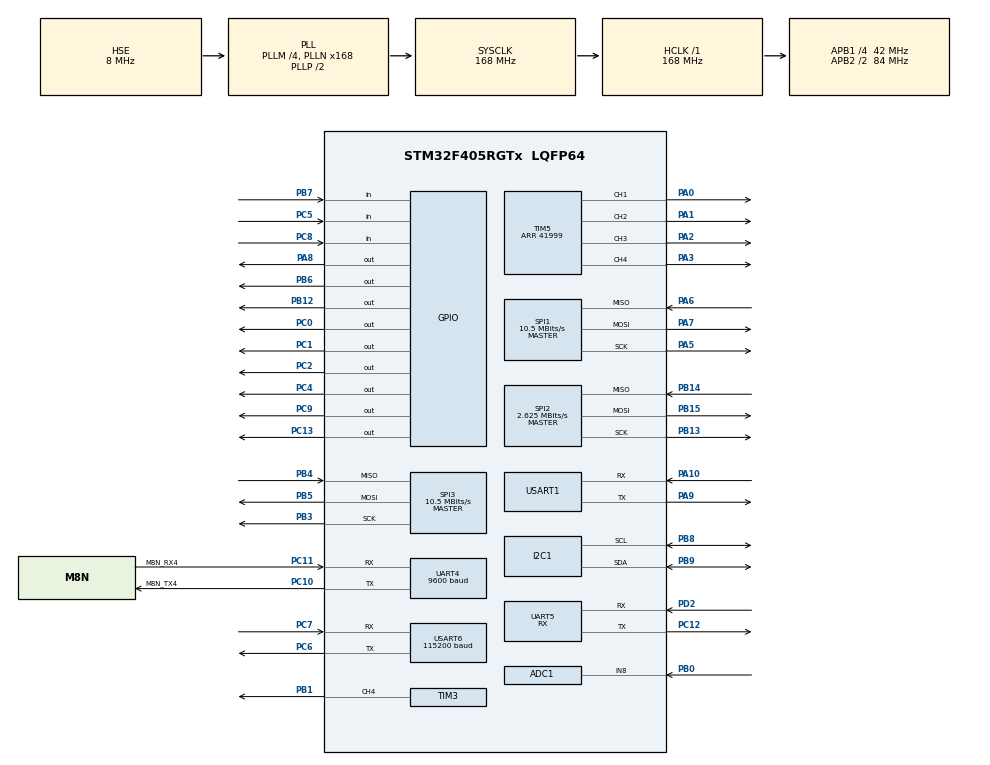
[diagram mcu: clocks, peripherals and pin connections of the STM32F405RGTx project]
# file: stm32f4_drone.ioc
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ADC1.Channel-0\#ChannelRegularConversion=ADC_CHANNEL_8
ADC1.ClockPrescaler=ADC_CLOCK_SYNC_PCLK_DIV8
ADC1.ContinuousConvMode=ENABLE
ADC1.DMAContinuousRequests=ENABLE
ADC1.NbrOfConversion=1
ADC1.NbrOfConversionFlag=1
ADC1.Rank-0\#ChannelRegularConversion=1
ADC1.SamplingTime-0\#ChannelRegularConversion=ADC_SAMPLETIME_480CYCLES
ADC1.master=1
Dma.ADC1.0.Direction=DMA_PERIPH_TO_MEMORY
Dma.ADC1.0.FIFOMode=DMA_FIFOMODE_DISABLE
Dma.ADC1.0.Instance=DMA2_Stream0
Dma.ADC1.0.MemDataAlignment=DMA_MDATAALIGN_HALFWORD
Dma.ADC1.0.MemInc=DMA_MINC_DISABLE
Dma.ADC1.0.Mode=DMA_CIRCULAR
Dma.ADC1.0.PeriphDataAlignment=DMA_PDATAALIGN_HALFWORD
Dma.ADC1.0.PeriphInc=DMA_PINC_DISABLE
Dma.ADC1.0.Priority=DMA_PRIORITY_LOW
Dma.Request0=ADC1
I2C1.I2C_Mode=I2C_Fast
Mcu.Family=STM32F4
Mcu.Name=STM32F405RGTx
Mcu.Package=LQFP64
NVIC.DMA2_Stream0_IRQn=true\:0\:0\:false\:false\:true\:false\:true\:true
NVIC.PriorityGroup=NVIC_PRIORITYGROUP_4
NVIC.TIM7_IRQn=true\:0\:0\:false\:false\:true\:true\:true\:true
NVIC.UART4_IRQn=true\:0\:0\:false\:false\:true\:true\:true\:true
NVIC.UART5_IRQn=true\:0\:0\:false\:false\:true\:true\:true\:true
NVIC.USART1_IRQn=true\:0\:0\:false\:false\:true\:true\:true\:true
NVIC.USART6_IRQn=true\:0\:0\:false\:false\:true\:true\:true\:true
PA0-WKUP.Signal=S_TIM5_CH1
PA1.Signal=S_TIM5_CH2
PA10.Mode=Asynchronous
PA10.Signal=USART1_RX
PA2.Signal=S_TIM5_CH3
PA3.Signal=S_TIM5_CH4
PA5.Mode=Full_Duplex_Master
PA5.Signal=SPI1_SCK
PA6.Mode=Full_Duplex_Master
PA6.Signal=SPI1_MISO
PA7.Mode=Full_Duplex_Master
PA7.Signal=SPI1_MOSI
PA8.Signal=GPIO_Output
PA9.Mode=Asynchronous
PA9.Signal=USART1_TX
PB0.Signal=ADCx_IN8
PB1.Signal=S_TIM3_CH4
PB12.Signal=GPIO_Output
PB13.Mode=Full_Duplex_Master
PB13.Signal=SPI2_SCK
PB14.Mode=Full_Duplex_Master
PB14.Signal=SPI2_MISO
PB15.Mode=Full_Duplex_Master
PB15.Signal=SPI2_MOSI
PB3.Mode=Full_Duplex_Master
PB3.Signal=SPI3_SCK
PB4.Mode=Full_Duplex_Master
PB4.Signal=SPI3_MISO
PB5.Mode=Full_Duplex_Master
PB5.Signal=SPI3_MOSI
PB6.Signal=GPIO_Output
PB7.Signal=GPIO_Input
PB8.GPIO_Pu=GPIO_PULLUP
PB8.Mode=I2C
PB8.Signal=I2C1_SCL
PB9.GPIO_Pu=GPIO_PULLUP
PB9.Mode=I2C
PB9.Signal=I2C1_SDA
PC0.Signal=GPIO_Output
PC1.Signal=GPIO_Output
PC10.GPIO_Label=M8N_TX4
PC10.Mode=Asynchronous
PC10.Signal=UART4_TX
PC11.GPIO_Label=M8N_RX4
PC11.Mode=Asynchronous
PC11.Signal=UART4_RX
PC12.Mode=Asynchronous
PC12.Signal=UART5_TX
PC13-ANTI_TAMP.PinState=GPIO_PIN_SET
PC13-ANTI_TAMP.Signal=GPIO_Output
PC2.Signal=GPIO_Output
PC4.Signal=GPIO_Output
PC5.Signal=GPIO_Input
PC6.Mode=Asynchronous
PC6.Signal=USART6_TX
PC7.Mode=Asynchronous
PC7.Signal=USART6_RX
PC8.Signal=GPIO_Input
PC9.Signal=GPIO_Output
PD2.Mode=Asynchronous
PD2.Signal=UART5_RX
PH0-OSC_IN.Mode=HSE-External-Oscillator
PH0-OSC_IN.Signal=RCC_OSC_IN
PH1-OSC_OUT.Mode=HSE-External-Oscillator
PH1-OSC_OUT.Signal=RCC_OSC_OUT
ProjectManager.HeapSize=0x200
ProjectManager.StackSize=0x400
ProjectManager.TargetToolchain=STM32CubeIDE
RCC.48MHZClocksFreq_Value=84000000
RCC.AHBFreq_Value=168000000
RCC.APB1CLKDivider=RCC_HCLK_DIV4
RCC.APB1Freq_Value=42000000
RCC.APB1TimFreq_Value=84000000
RCC.APB2CLKDivider=RCC_HCLK_DIV2
RCC.APB2Freq_Value=84000000
RCC.APB2TimFreq_Value=168000000
RCC.CortexFreq_Value=168000000
RCC.HCLKFreq_Value=168000000
RCC.HSE_VALUE=8000000
RCC.HSI_VALUE=16000000
RCC.LSE_VALUE=32768
RCC.PLLM=4
RCC.PLLN=168
RCC.PLLSourceVirtual=RCC_PLLSOURCE_HSE
RCC.SYSCLKFreq_VALUE=168000000
RCC.SYSCLKSource=RCC_SYSCLKSOURCE_PLLCLK
RCC.VCOOutputFreq_Value=336000000
SH.ADCx_IN8.0=ADC1_IN8,IN8
SH.S_TIM3_CH4.0=TIM3_CH4,PWM Generation4 CH4
SH.S_TIM5_CH1.0=TIM5_CH1,PWM Generation1 CH1
SH.S_TIM5_CH2.0=TIM5_CH2,PWM Generation2 CH2
SH.S_TIM5_CH3.0=TIM5_CH3,PWM Generation3 CH3
SH.S_TIM5_CH4.0=TIM5_CH4,PWM Generation4 CH4
SPI1.BaudRatePrescaler=SPI_BAUDRATEPRESCALER_8
SPI1.CLKPhase=SPI_PHASE_2EDGE
SPI1.CLKPolarity=SPI_POLARITY_HIGH
SPI1.CalculateBaudRate=10.5 MBits/s
SPI1.Direction=SPI_DIRECTION_2LINES
SPI1.Mode=SPI_MODE_MASTER
SPI1.VirtualType=VM_MASTER
SPI2.BaudRatePrescaler=SPI_BAUDRATEPRESCALER_16
SPI2.CLKPhase=SPI_PHASE_2EDGE
SPI2.CLKPolarity=SPI_POLARITY_HIGH
SPI2.CalculateBaudRate=2.625 MBits/s
SPI2.Direction=SPI_DIRECTION_2LINES
SPI2.Mode=SPI_MODE_MASTER
SPI2.VirtualType=VM_MASTER
SPI3.BaudRatePrescaler=SPI_BAUDRATEPRESCALER_4
SPI3.CLKPhase=SPI_PHASE_2EDGE
SPI3.CLKPolarity=SPI_POLARITY_HIGH
SPI3.CalculateBaudRate=10.5 MBits/s
SPI3.Direction=SPI_DIRECTION_2LINES
SPI3.Mode=SPI_MODE_MASTER
SPI3.VirtualType=VM_MASTER
TIM3.AutoReloadPreload=TIM_AUTORELOAD_PRELOAD_ENABLE
TIM3.Channel-PWM\ Generation4\ CH4=TIM_CHANNEL_4
TIM3.OCFastMode_PWM-PWM\ Generation4\ CH4=TIM_OCFAST_ENABLE
TIM3.Period=20
TIM3.Prescaler=999
TIM3.Pulse-PWM\ Generation4\ CH4=10
TIM5.AutoReloadPreload=TIM_AUTORELOAD_PRELOAD_ENABLE
TIM5.Channel-PWM\ Generation1\ CH1=TIM_CHANNEL_1
TIM5.Channel-PWM\ Generation2\ CH2=TIM_CHANNEL_2
TIM5.Channel-PWM\ Generation3\ CH3=TIM_CHANNEL_3
TIM5.Channel-PWM\ Generation4\ CH4=TIM_CHANNEL_4
TIM5.OCFastMode_PWM-PWM\ Generation1\ CH1=TIM_OCFAST_ENABLE
TIM5.OCFastMode_PWM-PWM\ Generation2\ CH2=TIM_OCFAST_ENABLE
TIM5.OCFastMode_PWM-PWM\ Generation3\ CH3=TIM_OCFAST_ENABLE
TIM5.OCFastMode_PWM-PWM\ Generation4\ CH4=TIM_OCFAST_ENABLE
TIM5.Period=41999
TIM5.Pulse-PWM\ Generation1\ CH1=0
TIM5.Pulse-PWM\ Generation2\ CH2=0
TIM5.Pulse-PWM\ Generation3\ CH3=0
TIM7.AutoReloadPreload=TIM_AUTORELOAD_PRELOAD_ENABLE
TIM7.Period=1
TIM7.Prescaler=41999
UART4.BaudRate=9600
UART4.VirtualMode=Asynchronous
UART5.Mode=MODE_RX
UART5.VirtualMode=Asynchronous
USART1.VirtualMode=VM_ASYNC
USART6.BaudRate=115200
USART6.VirtualMode=VM_ASYNC
VP_TIM3_VS_ClockSourceINT.Mode=Internal
VP_TIM5_VS_ClockSourceINT.Mode=Internal
VP_TIM7_VS_ClockSourceINT.Mode=Enable_Timer
board=custom

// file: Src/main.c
/* USER CODE BEGIN Header */
/**
  ******************************************************************************
  * @file           : main.c
  * @brief          : Main program body
  ******************************************************************************
  * @attention
  *
  * <h2><center>&copy; Copyright (c) 2021 STMicroelectronics.
  * All rights reserved.</center></h2>
  *
  * This software component is licensed by ST under BSD 3-Clause license,
  * the "License"; You may not use this file except in compliance with the
  * License. You may obtain a copy of the License at:
  *                        opensource.org/licenses/BSD-3-Clause
  *
  ******************************************************************************
  */
/* USER CODE END Header */
#include "main.h"
#include "adc.h"
#include "dma.h"
#include "i2c.h"
#include "spi.h"
#include "tim.h"
#include "usart.h"
#include "gpio.h"

/* USER CODE BEGIN Includes */
#include "BNO080.h"
#include "Quaternion.h"
#include "ICM20602.h"
#include "LPS22HH.h"
#include "M8N.h"
#include "FS-iA6B.h"
#include "AT24C08.h"
#include <string.h>
#include "PID control.h"
/* USER CODE END Includes */

/* USER CODE BEGIN PTD */
int _write(int file, char* p, int len)
{
	for (int i=0; i<len; i++)
	{
		while(!LL_USART_IsActiveFlag_TXE(USART6));
		LL_USART_TransmitData8(USART6, *(p+i));
		//HAL_Delay(1);
	}
	return len;
}
/* USER CODE END PTD */

/* USER CODE BEGIN PV */
extern uint8_t uart6_rx_flag;
extern uint8_t uart6_rx_data;

extern uint8_t m8n_rx_buf[36];
extern uint8_t m8n_rx_cplt_flag;

extern uint8_t ibus_rx_buf[32];
extern uint8_t ibus_rx_cplt_flag;

extern uint8_t uart1_rx_data;

uint8_t telemetry_tx_buf[40];

extern uint8_t tim7_1ms_flag;
extern uint8_t tim7_20ms_flag;
extern uint8_t tim7_100ms_flag;
extern uint8_t tim7_1000ms_flag;

float batVolt;

uint8_t telemetry_rx_buf[20];
uint8_t telemetry_rx_cplt_flag;

//float roll.in.kp;
//float roll.in.ki;
//float roll.in.kd;
//
//float roll.out.kp;
//float roll.out.ki;
//float roll.out.kd;
//
//float pitch.in.kp;
//float pitch.in.ki;
//float pitch.in.kd;
//
//float pitch.out.kp;
//float pitch.out.ki;
//float pitch.out.kd;
//
//float yaw_heading.kp;
//float yaw_heading.ki;
//float yaw_heading.kd;
//
//float yaw_rate.kp;
//float yaw_rate.ki;
//float yaw_rate.kd;

unsigned char failsafe_flag = 0;
unsigned char low_bat_flag = 0;
/* USER CODE END PV */

void SystemClock_Config(void);
/* USER CODE BEGIN PFP */
int Is_iBus_Throttle_Min(void);
void ESC_Calibration(void);
void BNO080_Calibration(void);
int Is_iBus_Received(void);
void Encode_Msg_AHRS(unsigned char* telemetry_tx_buf);
void Encode_Msg_GPS(unsigned char* telemetry_tx_buf);
void Encode_Msg_PID_Gain(unsigned char* telemetry_tx_buf, unsigned char id, float p, float i, float d);
/* USER CODE END PFP */

int main(void)
{
  /* USER CODE BEGIN 1 */
	float q[4];
	float quatRadianAccuracy;
	unsigned short adcVal;

	short gyro_x_offset = 4, gyro_y_offset = 10, gyro_z_offset = -6; // signed 16bit / raw data
	unsigned char motor_arming_flag = 0;
	unsigned short iBus_SwA_Prev = 0;
	unsigned char iBus_rx_cnt = 0;
	unsigned short ccr1, ccr2, ccr3, ccr4;

	float yaw_heading_reference;
  /* USER CODE END 1 */

  /* MCU Configuration--------------------------------------------------------*/

  /* Reset of all peripherals, Initializes the Flash interface and the Systick. */
  HAL_Init();

  /* Configure the system clock */
  SystemClock_Config();

  /* Initialize all configured peripherals */
  MX_GPIO_Init();
  MX_TIM3_Init(); // buzzer
  MX_USART6_UART_Init(); // PC UART
  MX_SPI2_Init(); // BNO080
  MX_SPI1_Init(); // ICM-20602
  MX_SPI3_Init(); // LPS22HH
  MX_UART4_Init(); // M8N
  MX_UART5_Init(); // iBus
  MX_TIM5_Init(); // BLDC Motor
  MX_DMA_Init(); // ADC Battery
  MX_ADC1_Init(); // ADC Battery
  MX_I2C1_Init(); // EEPROM
  MX_USART1_UART_Init(); // 3DR Telemetry
  MX_TIM7_Init(); // 20ms 100ms count
  /* USER CODE BEGIN 2 */
  LL_TIM_EnableCounter(TIM3); // Buzzer

  LL_USART_EnableIT_RXNE(USART6); // Debug UART
  LL_USART_EnableIT_RXNE(UART4); // GPS UART
  LL_USART_EnableIT_RXNE(UART5); // FS-iA6B Receive Interrupt

  LL_TIM_EnableCounter(TIM5); // Motor
  LL_TIM_CC_EnableChannel(TIM5, LL_TIM_CHANNEL_CH1);
  LL_TIM_CC_EnableChannel(TIM5, LL_TIM_CHANNEL_CH2);
  LL_TIM_CC_EnableChannel(TIM5, LL_TIM_CHANNEL_CH3);
  LL_TIM_CC_EnableChannel(TIM5, LL_TIM_CHANNEL_CH4);

  HAL_ADC_Start_DMA(&hadc1, &adcVal, 1); // adcVal = ADC1->DR; Battery ADC

  HAL_UART_Receive_IT(&huart1, &uart1_rx_data, 1); // if data received, Call Rx call back function // telemetry

  LL_TIM_EnableCounter(TIM7); // 10Hz, 50Hz, 1kHz loop
  LL_TIM_EnableIT_UPDATE(TIM7);

  TIM3->PSC = 1000; // BEEP BEEP
  LL_TIM_CC_EnableChannel(TIM3, LL_TIM_CHANNEL_CH4);
  HAL_Delay(60);
  LL_TIM_CC_DisableChannel(TIM3, LL_TIM_CHANNEL_CH4);
  HAL_Delay(60);
  LL_TIM_CC_EnableChannel(TIM3, LL_TIM_CHANNEL_CH4);
  HAL_Delay(60);
  LL_TIM_CC_DisableChannel(TIM3, LL_TIM_CHANNEL_CH4);
  HAL_Delay(60);

  printf("Checking sensor connection..\n\n");

  if (BNO080_Initialization() != 0)
  {
	  LL_TIM_CC_EnableChannel(TIM3, LL_TIM_CHANNEL_CH4);
	  TIM3->PSC = 1000;
	  HAL_Delay(100);
	  TIM3->PSC = 1500;
	  HAL_Delay(100);
	  TIM3->PSC = 2000;
	  HAL_Delay(100);
	  LL_TIM_CC_DisableChannel(TIM3, LL_TIM_CHANNEL_CH4);

	  printf("\nBNO080 failed. Program shutting down...");
	  while (1)
	  {
		  LL_TIM_CC_DisableChannel(TIM3, LL_TIM_CHANNEL_CH4);
		  LL_GPIO_TogglePin(GPIOC, LL_GPIO_PIN_0);
		  HAL_Delay(200);
		  LL_TIM_CC_EnableChannel(TIM3, LL_TIM_CHANNEL_CH4);
		  LL_GPIO_TogglePin(GPIOC, LL_GPIO_PIN_0);
		  HAL_Delay(200);
	  }
  }
  //BNO080_enableRotationVector(2500); // 400Hz
  BNO080_enableGameRotationVector(2500);

  if (ICM20602_Initialization() != 0)
  {
	  LL_TIM_CC_EnableChannel(TIM3, LL_TIM_CHANNEL_CH4);
	  TIM3->PSC = 1000;
	  HAL_Delay(100);
	  TIM3->PSC = 1500;
	  HAL_Delay(100);
	  TIM3->PSC = 2000;
	  HAL_Delay(100);
	  LL_TIM_CC_DisableChannel(TIM3, LL_TIM_CHANNEL_CH4);

	  printf("\nICM-20602 failed. Program shutting down...");
	  while (1)
	  {
		  LL_TIM_CC_DisableChannel(TIM3, LL_TIM_CHANNEL_CH4);
		  LL_GPIO_TogglePin(GPIOC, LL_GPIO_PIN_1);
		  HAL_Delay(200);
		  LL_TIM_CC_EnableChannel(TIM3, LL_TIM_CHANNEL_CH4);
		  LL_GPIO_TogglePin(GPIOC, LL_GPIO_PIN_1);
		  HAL_Delay(200);
	  }
  }

  if (LPS22HH_Initialization() != 0)
  {
	  LL_TIM_CC_EnableChannel(TIM3, LL_TIM_CHANNEL_CH4);
	  TIM3->PSC = 1000;
	  HAL_Delay(100);
	  TIM3->PSC = 1500;
	  HAL_Delay(100);
	  TIM3->PSC = 2000;
	  HAL_Delay(100);
	  LL_TIM_CC_DisableChannel(TIM3, LL_TIM_CHANNEL_CH4);

	  printf("\nLPS22HH failed. Program shutting down...");
	  while (1)
	  {
		  LL_TIM_CC_DisableChannel(TIM3, LL_TIM_CHANNEL_CH4);
		  LL_GPIO_TogglePin(GPIOC, LL_GPIO_PIN_2);
		  HAL_Delay(200);
		  LL_TIM_CC_EnableChannel(TIM3, LL_TIM_CHANNEL_CH4);
		  LL_GPIO_TogglePin(GPIOC, LL_GPIO_PIN_2);
		  HAL_Delay(200);
	  }
  }

  printf("All sensors OK!\n\n");

  M8N_Initialization();

  // ICM-20602 DC Bias Remove
  ICM20602_Writebyte(0x13, (gyro_x_offset*-2)>>8);
  ICM20602_Writebyte(0x14, (gyro_x_offset*-2));
  ICM20602_Writebyte(0x15, (gyro_y_offset*-2)>>8);
  ICM20602_Writebyte(0x16, (gyro_y_offset*-2));
  ICM20602_Writebyte(0x17, (gyro_z_offset*-2)>>8);
  ICM20602_Writebyte(0x18, (gyro_z_offset*-2));

  printf("Loading PID Gain...\n");

//  a[0] = EP_PIDGain_Read(0, &roll.in.kp, &roll.in.ki, &roll.in.kd);
//  a[1] = EP_PIDGain_Read(1, &roll.out.kp, &roll.out.ki, &roll.out.kd);
//  a[2] = EP_PIDGain_Read(2, &pitch.in.kp, &pitch.in.ki, &pitch.in.kd);
//  a[3] = EP_PIDGain_Read(3, &pitch.out.kp, &pitch.out.ki, &pitch.out.kd);
//  a[4] = EP_PIDGain_Read(4, &yaw_heading.kp, &yaw_heading.ki, &yaw_heading.kd);
//  a[5] = EP_PIDGain_Read(5, &yaw_rate.kp, &yaw_rate.ki, &yaw_rate.kd);
//  for (int i=0; i<6; i++) printf("%d\t", a[i]);

  // PID Gain Tx Booting Process
  if (EP_PIDGain_Read(0, &roll.in.kp, &roll.in.ki, &roll.in.kd) != 0 ||
	  EP_PIDGain_Read(1, &roll.out.kp, &roll.out.ki, &roll.out.kd) != 0 ||
	  EP_PIDGain_Read(2, &pitch.in.kp, &pitch.in.ki, &pitch.in.kd) != 0 ||
	  EP_PIDGain_Read(3, &pitch.out.kp, &pitch.out.ki, &pitch.out.kd) != 0 ||
	  EP_PIDGain_Read(4, &yaw_heading.kp, &yaw_heading.ki, &yaw_heading.kd) != 0 ||
	  EP_PIDGain_Read(5, &yaw_rate.kp, &yaw_rate.ki, &yaw_rate.kd) != 0)
  {
	  LL_TIM_CC_EnableChannel(TIM3, LL_TIM_CHANNEL_CH4);
	  TIM3->PSC = 1000;
	  HAL_Delay(100);
	  TIM3->PSC = 1500;
	  HAL_Delay(100);
	  TIM3->PSC = 2000;
	  HAL_Delay(100);
	  LL_TIM_CC_DisableChannel(TIM3, LL_TIM_CHANNEL_CH4);

	  HAL_Delay(500);
	  printf("\nCouldn't load PID gain.\n");
  }
  else
  {
	  Encode_Msg_PID_Gain(&telemetry_tx_buf[0], 0, roll.in.kp, roll.in.ki, roll.in.kd);
	  HAL_UART_Transmit(&huart1, &telemetry_tx_buf[0], 20, 10);
	  Encode_Msg_PID_Gain(&telemetry_tx_buf[0], 1, roll.out.kp, roll.out.ki, roll.out.kd);
	  HAL_UART_Transmit(&huart1, &telemetry_tx_buf[0], 20, 10);
	  Encode_Msg_PID_Gain(&telemetry_tx_buf[0], 2, pitch.in.kp, pitch.in.ki, pitch.in.kd);
	  HAL_UART_Transmit(&huart1, &telemetry_tx_buf[0], 20, 10);
	  Encode_Msg_PID_Gain(&telemetry_tx_buf[0], 3, pitch.out.kp, pitch.out.ki, pitch.out.kd);
	  HAL_UART_Transmit(&huart1, &telemetry_tx_buf[0], 20, 10);
	  Encode_Msg_PID_Gain(&telemetry_tx_buf[0], 4, yaw_heading.kp, yaw_heading.ki, yaw_heading.kd);
	  HAL_UART_Transmit(&huart1, &telemetry_tx_buf[0], 20, 10);
	  Encode_Msg_PID_Gain(&telemetry_tx_buf[0], 5, yaw_rate.kp, yaw_rate.ki, yaw_rate.kd);
	  HAL_UART_Transmit(&huart1, &telemetry_tx_buf[0], 20, 10);

	  printf("\nAll gains OK!\n\n");
  }

  while (!Is_iBus_Received())
  {
	  LL_TIM_CC_EnableChannel(TIM3, LL_TIM_CHANNEL_CH4);

	  TIM3->PSC = 3000;
	  HAL_Delay(200);
	  LL_TIM_CC_DisableChannel(TIM3, LL_TIM_CHANNEL_CH4);
	  HAL_Delay(200);
  }

  if (iBus.SwC == 2000) // ESC Calibration
  {
	  LL_TIM_CC_EnableChannel(TIM3, LL_TIM_CHANNEL_CH4);

	  TIM3->PSC = 1500;
	  HAL_Delay(200);
	  TIM3->PSC = 2000;
	  HAL_Delay(200);
	  TIM3->PSC = 1500;
	  HAL_Delay(200);
	  TIM3->PSC = 2000;
	  HAL_Delay(200);
	  LL_TIM_CC_DisableChannel(TIM3, LL_TIM_CHANNEL_CH4);

	  ESC_Calibration();
	  while (iBus.SwC != 1000)
	  {
		  Is_iBus_Received();
		  LL_TIM_CC_EnableChannel(TIM3, LL_TIM_CHANNEL_CH4);

		  TIM3->PSC = 1500;
		  HAL_Delay(200);
		  TIM3->PSC = 2000;
		  HAL_Delay(200);
		  LL_TIM_CC_DisableChannel(TIM3, LL_TIM_CHANNEL_CH4);
	  }
  }
  else if (iBus.SwC == 1500) // BNO080 Calibration
  {
	  LL_TIM_CC_EnableChannel(TIM3, LL_TIM_CHANNEL_CH4);

	  TIM3->PSC = 1500;
	  HAL_Delay(200);
	  TIM3->PSC = 2000;
	  HAL_Delay(200);
	  TIM3->PSC = 1500;
	  HAL_Delay(200);
	  TIM3->PSC = 2000;
	  HAL_Delay(200);
	  LL_TIM_CC_DisableChannel(TIM3, LL_TIM_CHANNEL_CH4);

	  BNO080_Calibration();
	  while (iBus.SwC != 1000)
	  {
		  Is_iBus_Received();
		  LL_TIM_CC_EnableChannel(TIM3, LL_TIM_CHANNEL_CH4);

		  TIM3->PSC = 1500;
		  HAL_Delay(200);
		  TIM3->PSC = 2000;
		  HAL_Delay(200);
		  LL_TIM_CC_DisableChannel(TIM3, LL_TIM_CHANNEL_CH4);
	  }
  }

  while (!Is_iBus_Throttle_Min() || iBus.SwA == 2000) // Throttle Safety
  {
	  LL_TIM_CC_EnableChannel(TIM3, LL_TIM_CHANNEL_CH4);
	  TIM3->PSC = 1000;
	  HAL_Delay(70);
	  LL_TIM_CC_DisableChannel(TIM3, LL_TIM_CHANNEL_CH4);
	  HAL_Delay(70);
  }

  LL_TIM_CC_EnableChannel(TIM3, LL_TIM_CHANNEL_CH4);	// Buzzer On

  TIM3->PSC = 2000; // 2kHz
  HAL_Delay(100);
  TIM3->PSC = 1500; // 3kHz
  HAL_Delay(100);
  TIM3->PSC = 1000; // 4kHz
  HAL_Delay(100);

  LL_TIM_CC_DisableChannel(TIM3, LL_TIM_CHANNEL_CH4);	// Buzzer Off

  printf("Main Loop Start\n");

  /* USER CODE END 2 */

  /* Infinite loop */
  while (1)
  {

    /* USER CODE BEGIN 3 */

	  if (tim7_1ms_flag) // PID Control 1kHz / 1ms
	  {
		  tim7_1ms_flag = 0;

		  Double_Roll_Pitch_PID_Calculation(&pitch, (iBus.RV - 1500) * 0.1f, BNO080_Pitch, ICM20602.gyro_x);
		  Double_Roll_Pitch_PID_Calculation(&roll, (iBus.RH - 1500) * 0.1f, BNO080_Roll, ICM20602.gyro_y);

		  if (iBus.LV < 1030 || !motor_arming_flag)
		  {
			  Reset_All_PID_Integrator();
		  }

		  if (iBus.LH < 1485 || iBus.LH > 1515)
		  {
			  yaw_heading_reference = BNO080_Yaw;
			  Single_Yaw_Rate_PID_Calculation(&yaw_rate, (iBus.LH - 1500), ICM20602.gyro_z);

			  ccr1 = 10500 + 500 + (iBus.LV - 1000) * 10 - pitch.in.pid_result + roll.in.pid_result - yaw_rate.pid_result;
			  ccr2 = 10500 + 500 + (iBus.LV - 1000) * 10 + pitch.in.pid_result + roll.in.pid_result + yaw_rate.pid_result;
			  ccr3 = 10500 + 500 + (iBus.LV - 1000) * 10 + pitch.in.pid_result - roll.in.pid_result - yaw_rate.pid_result;
			  ccr4 = 10500 + 500 + (iBus.LV - 1000) * 10 - pitch.in.pid_result - roll.in.pid_result + yaw_rate.pid_result;
		  }
		  else
		  {
			  Single_Yaw_Heading_PID_Calculation(&yaw_heading, yaw_heading_reference, BNO080_Yaw, ICM20602.gyro_z);

			  ccr1 = 10500 + 500 + (iBus.LV - 1000) * 10 - pitch.in.pid_result + roll.in.pid_result - yaw_heading.pid_result;
			  ccr2 = 10500 + 500 + (iBus.LV - 1000) * 10 + pitch.in.pid_result + roll.in.pid_result + yaw_heading.pid_result;
			  ccr3 = 10500 + 500 + (iBus.LV - 1000) * 10 + pitch.in.pid_result - roll.in.pid_result - yaw_heading.pid_result;
			  ccr4 = 10500 + 500 + (iBus.LV - 1000) * 10 - pitch.in.pid_result - roll.in.pid_result + yaw_heading.pid_result;
		  }
	  }

	  if (iBus.SwA == 2000 && iBus_SwA_Prev != 2000) // do one time (like state change interrupt)
	  {
		  if (iBus.LV < 1010)
		  {
			  motor_arming_flag = 1;
			  yaw_heading_reference = BNO080_Yaw;
		  }
		  else
		  {
			  while (!Is_iBus_Throttle_Min() || iBus.SwA == 2000) // Throttle Safety
			  {
				  LL_TIM_CC_EnableChannel(TIM3, LL_TIM_CHANNEL_CH4);
				  TIM3->PSC = 1000;
				  HAL_Delay(70);
				  LL_TIM_CC_DisableChannel(TIM3, LL_TIM_CHANNEL_CH4);
				  HAL_Delay(70);
			  }
		  }
	  }
	  iBus_SwA_Prev = iBus.SwA;

	  if (iBus.SwA != 2000)
	  {
		  motor_arming_flag = 0;
	  }

	  if (motor_arming_flag)
	  {
		  if (!failsafe_flag)
		  {
			  if (iBus.LV > 1030)
			  {
				  TIM5->CCR1 = (ccr1 > 21000) ? 21000 : (ccr1 < 11000) ? 11000 : ccr1;
				  TIM5->CCR2 = (ccr2 > 21000) ? 21000 : (ccr2 < 11000) ? 11000 : ccr2;
				  TIM5->CCR3 = (ccr3 > 21000) ? 21000 : (ccr3 < 11000) ? 11000 : ccr3;
				  TIM5->CCR4 = (ccr4 > 21000) ? 21000 : (ccr4 < 11000) ? 11000 : ccr4;
			  }
			  else
			  {
				  TIM5->CCR1 = 11000;
				  TIM5->CCR2 = 11000;
				  TIM5->CCR3 = 11000;
				  TIM5->CCR4 = 11000;
			  }
		  }
		  else
		  {
			  TIM5->CCR1 = 10500;
			  TIM5->CCR2 = 10500;
			  TIM5->CCR3 = 10500;
			  TIM5->CCR4 = 10500;
		  }
	  }
	  else
	  {
		  TIM5->CCR1 = 10500;
		  TIM5->CCR2 = 10500;
		  TIM5->CCR3 = 10500;
		  TIM5->CCR4 = 10500;
	  }

	  // 0x00 ~ 0x05 PID Gain Rx & Tx
	  if (telemetry_rx_cplt_flag)
	  {
		  telemetry_rx_cplt_flag = 0;

		  if (iBus.SwA == 1000) // Delay, normal transmit ok.
		  {
			  unsigned char chksum = 0xff;
			  for (int i=0; i<19; i++) chksum = chksum - telemetry_rx_buf[i];
			  if (chksum == telemetry_rx_buf[19])
			  {
				  LL_TIM_CC_EnableChannel(TIM3, LL_TIM_CHANNEL_CH4);
				  TIM3->PSC = 1000;
				  HAL_Delay(10);
				  LL_TIM_CC_DisableChannel(TIM3, LL_TIM_CHANNEL_CH4);
				  switch (telemetry_rx_buf[2])
				  {
				  case 0:
					  roll.in.kp = *(float*)&telemetry_rx_buf[3];
					  roll.in.ki = *(float*)&telemetry_rx_buf[7];
					  roll.in.kd = *(float*)&telemetry_rx_buf[11];
					  EP_PIDGain_Write(telemetry_rx_buf[2], roll.in.kp, roll.in.ki, roll.in.kd);
					  EP_PIDGain_Read(telemetry_rx_buf[2], &roll.in.kp, &roll.in.ki, &roll.in.kd);
					  Encode_Msg_PID_Gain(&telemetry_tx_buf[0], telemetry_rx_buf[2], roll.in.kp, roll.in.ki, roll.in.kd);
					  HAL_UART_Transmit_IT(&huart1, &telemetry_tx_buf[0], 20);
					  break;
				  case 1:
					  roll.out.kp = *(float*)&telemetry_rx_buf[3];
					  roll.out.ki = *(float*)&telemetry_rx_buf[7];
					  roll.out.kd = *(float*)&telemetry_rx_buf[11];
					  EP_PIDGain_Write(telemetry_rx_buf[2], roll.out.kp, roll.out.ki, roll.out.kd);
					  EP_PIDGain_Read(telemetry_rx_buf[2], &roll.out.kp, &roll.out.ki, &roll.out.kd);
					  Encode_Msg_PID_Gain(&telemetry_tx_buf[0], telemetry_rx_buf[2], roll.out.kp, roll.out.ki, roll.out.kd);
					  HAL_UART_Transmit_IT(&huart1, &telemetry_tx_buf[0], 20);
					  break;
				  case 2:
					  pitch.in.kp = *(float*)&telemetry_rx_buf[3];
					  pitch.in.ki = *(float*)&telemetry_rx_buf[7];
					  pitch.in.kd = *(float*)&telemetry_rx_buf[11];
					  EP_PIDGain_Write(telemetry_rx_buf[2], pitch.in.kp, pitch.in.ki, pitch.in.kd);
					  EP_PIDGain_Read(telemetry_rx_buf[2], &pitch.in.kp, &pitch.in.ki, &pitch.in.kd);
					  Encode_Msg_PID_Gain(&telemetry_tx_buf[0], telemetry_rx_buf[2], pitch.in.kp, pitch.in.ki, pitch.in.kd);
					  HAL_UART_Transmit_IT(&huart1, &telemetry_tx_buf[0], 20);
					  break;
				  case 3:
					  pitch.out.kp = *(float*)&telemetry_rx_buf[3];
					  pitch.out.ki = *(float*)&telemetry_rx_buf[7];
					  pitch.out.kd = *(float*)&telemetry_rx_buf[11];
					  EP_PIDGain_Write(telemetry_rx_buf[2], pitch.out.kp, pitch.out.ki, pitch.out.kd);
					  EP_PIDGain_Read(telemetry_rx_buf[2], &pitch.out.kp, &pitch.out.ki, &pitch.out.kd);
					  Encode_Msg_PID_Gain(&telemetry_tx_buf[0], telemetry_rx_buf[2], pitch.out.kp, pitch.out.ki, pitch.out.kd);
					  HAL_UART_Transmit_IT(&huart1, &telemetry_tx_buf[0], 20);
					  break;
				  case 4:
					  yaw_heading.kp = *(float*)&telemetry_rx_buf[3];
					  yaw_heading.ki = *(float*)&telemetry_rx_buf[7];
					  yaw_heading.kd = *(float*)&telemetry_rx_buf[11];
					  EP_PIDGain_Write(telemetry_rx_buf[2], yaw_heading.kp, yaw_heading.ki, yaw_heading.kd);
					  EP_PIDGain_Read(telemetry_rx_buf[2], &yaw_heading.kp, &yaw_heading.ki, &yaw_heading.kd);
					  Encode_Msg_PID_Gain(&telemetry_tx_buf[0], telemetry_rx_buf[2], yaw_heading.kp, yaw_heading.ki, yaw_heading.kd);
					  HAL_UART_Transmit_IT(&huart1, &telemetry_tx_buf[0], 20);
					  break;
				  case 5:
					  yaw_rate.kp = *(float*)&telemetry_rx_buf[3];
					  yaw_rate.ki = *(float*)&telemetry_rx_buf[7];
					  yaw_rate.kd = *(float*)&telemetry_rx_buf[11];
					  EP_PIDGain_Write(telemetry_rx_buf[2], yaw_rate.kp, yaw_rate.ki, yaw_rate.kd);
					  EP_PIDGain_Read(telemetry_rx_buf[2], &yaw_rate.kp, &yaw_rate.ki, &yaw_rate.kd);
					  Encode_Msg_PID_Gain(&telemetry_tx_buf[0], telemetry_rx_buf[2], yaw_rate.kp, yaw_rate.ki, yaw_rate.kd);
					  HAL_UART_Transmit_IT(&huart1, &telemetry_tx_buf[0], 20);
					  break;
				  case 0x10:
					  switch (telemetry_rx_buf[3])
					  {
					  case 0:
						  Encode_Msg_PID_Gain(&telemetry_tx_buf[0], telemetry_rx_buf[3], roll.in.kp, roll.in.ki, roll.in.kd);
						  HAL_UART_Transmit(&huart1, &telemetry_tx_buf[0], 20, 10);
						  break;
					  case 1:
						  Encode_Msg_PID_Gain(&telemetry_tx_buf[0], telemetry_rx_buf[3], roll.out.kp, roll.out.ki, roll.out.kd);
						  HAL_UART_Transmit(&huart1, &telemetry_tx_buf[0], 20, 10);
						  break;
					  case 2:
						  Encode_Msg_PID_Gain(&telemetry_tx_buf[0], telemetry_rx_buf[3], pitch.in.kp, pitch.in.ki, pitch.in.kd);
						  HAL_UART_Transmit(&huart1, &telemetry_tx_buf[0], 20, 10);
						  break;
					  case 3:
						  Encode_Msg_PID_Gain(&telemetry_tx_buf[0], telemetry_rx_buf[3], pitch.out.kp, pitch.out.ki, pitch.out.kd);
						  HAL_UART_Transmit(&huart1, &telemetry_tx_buf[0], 20, 10);
						  break;
					  case 4:
						  Encode_Msg_PID_Gain(&telemetry_tx_buf[0], telemetry_rx_buf[3], yaw_heading.kp, yaw_heading.ki, yaw_heading.kd);
						  HAL_UART_Transmit(&huart1, &telemetry_tx_buf[0], 20, 10);
						  break;
					  case 5:
						  Encode_Msg_PID_Gain(&telemetry_tx_buf[0], telemetry_rx_buf[3], yaw_rate.kp, yaw_rate.ki, yaw_rate.kd);
						  HAL_UART_Transmit(&huart1, &telemetry_tx_buf[0], 20, 10);
						  break;
					  case 6:
						  Encode_Msg_PID_Gain(&telemetry_tx_buf[0], 0, roll.in.kp, roll.in.ki, roll.in.kd);
						  HAL_UART_Transmit(&huart1, &telemetry_tx_buf[0], 20, 10);
						  Encode_Msg_PID_Gain(&telemetry_tx_buf[0], 1, roll.out.kp, roll.out.ki, roll.out.kd);
						  HAL_UART_Transmit(&huart1, &telemetry_tx_buf[0], 20, 10);
						  Encode_Msg_PID_Gain(&telemetry_tx_buf[0], 2, pitch.in.kp, pitch.in.ki, pitch.in.kd);
						  HAL_UART_Transmit(&huart1, &telemetry_tx_buf[0], 20, 10);
						  Encode_Msg_PID_Gain(&telemetry_tx_buf[0], 3, pitch.out.kp, pitch.out.ki, pitch.out.kd);
						  HAL_UART_Transmit(&huart1, &telemetry_tx_buf[0], 20, 10);
						  Encode_Msg_PID_Gain(&telemetry_tx_buf[0], 4, yaw_heading.kp, yaw_heading.ki, yaw_heading.kd);
						  HAL_UART_Transmit(&huart1, &telemetry_tx_buf[0], 20, 10);
						  Encode_Msg_PID_Gain(&telemetry_tx_buf[0], 5, yaw_rate.kp, yaw_rate.ki, yaw_rate.kd);
						  HAL_UART_Transmit(&huart1, &telemetry_tx_buf[0], 20, 10);
						  break;
					  }
					  break;
				  }
			  }
		  }
	  }

	  // 0x10 AHRS
	  if (tim7_20ms_flag && !tim7_100ms_flag) // T = 20ms
	  {
		  tim7_20ms_flag = 0;

		  Encode_Msg_AHRS(&telemetry_tx_buf[0]);

		  HAL_UART_Transmit_IT(&huart1, &telemetry_tx_buf[0], 20);
	  }
	  // 0x11 GPS, SwA/C, Bat, Fail-safe
	  else if (tim7_20ms_flag && tim7_100ms_flag) // T = 100ms
	  {
		  tim7_20ms_flag = 0;
		  tim7_100ms_flag = 0;

		  Encode_Msg_AHRS(&telemetry_tx_buf[0]);
		  Encode_Msg_GPS(&telemetry_tx_buf[20]);

		  HAL_UART_Transmit_IT(&huart1, &telemetry_tx_buf[0], 40);
	  }

	  batVolt = adcVal * 0.003619f;
	  //printf("%d\t%.2f\n", adcVal, batVolt);
	  if (batVolt < 10.0f)
	  {
		  low_bat_flag = 1;
	  }
	  else
	  {
		  low_bat_flag = 0;
	  }

	  // BNO080
	  if (BNO080_dataAvailable())
	  {
		  //LL_GPIO_TogglePin(GPIOC, LL_GPIO_PIN_0);

		  q[0] = BNO080_getQuatI();
		  q[1] = BNO080_getQuatJ();
		  q[2] = BNO080_getQuatK();
		  q[3] = BNO080_getQuatReal();
		  quatRadianAccuracy = BNO080_getQuatRadianAccuracy();

		  Quaternion_Update(&q[0]);

		  BNO080_Roll = -BNO080_Roll;
		  BNO080_Pitch = -BNO080_Pitch;

		  //printf("%.2f\t%.2f\n", BNO080_Roll, BNO080_Pitch);
		  //printf("%.2f\n", BNO080_Yaw);

		  //printf("%d, %d\n", (int)(BNO080_Roll * 100), (int)(BNO080_Pitch * 100));
		  //printf("%d\n", (int)(BNO080_Yaw * 100));

		  //printf("%d, %d, %d\n", (int)(BNO080_Roll * 100), (int)(BNO080_Pitch * 100), (int)(BNO080_Yaw * 100));
	  }

	  // ICM-20602
	  if (ICM20602_DataReady())
	  {
		  //LL_GPIO_TogglePin(GPIOC, LL_GPIO_PIN_1);

		  ICM20602_Get3AxisGyroRawData(&ICM20602.gyro_x_raw);

		  ICM20602.gyro_x = ICM20602.gyro_x_raw * 2000.f / 32768.f;
		  ICM20602.gyro_y = ICM20602.gyro_y_raw * 2000.f / 32768.f;
		  ICM20602.gyro_z = ICM20602.gyro_z_raw * 2000.f / 32768.f;

		  ICM20602.gyro_x = -ICM20602.gyro_x;
		  ICM20602.gyro_z = -ICM20602.gyro_z;

		  //printf("%d, %d, %d\n", ICM20602.gyro_x_raw, ICM20602.gyro_y_raw, ICM20602.gyro_z_raw);
		  //printf("%d, %d, %d\n", (int)(ICM20602.gyro_x*100), (int)(ICM20602.gyro_y*100), (int)(ICM20602.gyro_z*100));
	  }

	  // LPS22HH
	  if (LPS22HH_DataReady())
	  {
		  LPS22HH_GetPressure(&LPS22HH.pressure_raw);
		  LPS22HH_GetTemperature(&LPS22HH.temperature_raw);

		  LPS22HH.baroAlt = getAltitude2(LPS22HH.pressure_raw/4096.f, LPS22HH.temperature_raw/100.f);

#define X 0.90f
		  LPS22HH.baroAltFilt = LPS22HH.baroAltFilt * X + LPS22HH.baroAlt * (1.0f - X); // IIR Filter

		  //printf("%d, %d\n", (int)(LPS22HH.baroAlt*100), (int)(LPS22HH.baroAltFilt*100));
	  }

	  // M8N Message Protocol
	  if (m8n_rx_cplt_flag)
	  {
		  m8n_rx_cplt_flag = 0;

		  if (M8N_UBX_CHKSUM_Check(&m8n_rx_buf[0], 36))
		  {
			  LL_GPIO_TogglePin(GPIOC, LL_GPIO_PIN_2);
			  M8N_UBX_NAV_POLSSH_Parsing(&m8n_rx_buf[0], &posllh);

			  //printf("LAT: %ld\tLON: %ld\tHeight: %ld\n", posllh.lat, posllh.lon, posllh.height);
		  }
	  }

	  // iBus
	  if (ibus_rx_cplt_flag)
	  {
		  ibus_rx_cplt_flag = 0;

		  if (iBus_Check_CHKSUM(&ibus_rx_buf[0], 32))
		  {
			  //LL_GPIO_TogglePin(GPIOC, LL_GPIO_PIN_2);

			  iBus_Parsing(&ibus_rx_buf[0], &iBus);
			  iBus_rx_cnt++;

			  if (iBus_isActiveFailsafe(&iBus))
			  {
				  failsafe_flag = 1; // Transmitter fail-safe
			  }
			  else
			  {
				  failsafe_flag = 0;
			  }
//			  printf("%d\t%d\t%d\t%d\t%d\t%d\n",
//					  iBus.RH, iBus.RV, iBus.LV, iBus.LH, iBus.SwA, iBus.SwC);
//			  HAL_Delay(100);
		  }
	  }

	  if (tim7_1000ms_flag)
	  {
		  tim7_1000ms_flag = 0;
		  if (!iBus_rx_cnt)
		  {
			  failsafe_flag = 2; // Receiver fail-safe
		  }
		  iBus_rx_cnt = 0;
	  }

	  // Error Buzzer / SwC
	  if (failsafe_flag == 1 || failsafe_flag == 2 || low_bat_flag == 1 || iBus.SwC == 2000)
	  {
		  LL_TIM_CC_EnableChannel(TIM3, LL_TIM_CHANNEL_CH4);
	  }
	  else
	  {
		  LL_TIM_CC_DisableChannel(TIM3, LL_TIM_CHANNEL_CH4);
	  }

  }
  /* USER CODE END 3 */
}

void SystemClock_Config(void)
{
  RCC_OscInitTypeDef RCC_OscInitStruct = {0};
  RCC_ClkInitTypeDef RCC_ClkInitStruct = {0};

  /** Configure the main internal regulator output voltage
  */
  __HAL_RCC_PWR_CLK_ENABLE();
  __HAL_PWR_VOLTAGESCALING_CONFIG(PWR_REGULATOR_VOLTAGE_SCALE1);
  /** Initializes the RCC Oscillators according to the specified parameters
  * in the RCC_OscInitTypeDef structure.
  */
  RCC_OscInitStruct.OscillatorType = RCC_OSCILLATORTYPE_HSE;
  RCC_OscInitStruct.HSEState = RCC_HSE_ON;
  RCC_OscInitStruct.PLL.PLLState = RCC_PLL_ON;
  RCC_OscInitStruct.PLL.PLLSource = RCC_PLLSOURCE_HSE;
  RCC_OscInitStruct.PLL.PLLM = 4;
  RCC_OscInitStruct.PLL.PLLN = 168;
  RCC_OscInitStruct.PLL.PLLP = RCC_PLLP_DIV2;
  RCC_OscInitStruct.PLL.PLLQ = 4;
  if (HAL_RCC_OscConfig(&RCC_OscInitStruct) != HAL_OK)
  {
    Error_Handler();
  }
  /** Initializes the CPU, AHB and APB buses clocks
  */
  RCC_ClkInitStruct.ClockType = RCC_CLOCKTYPE_HCLK|RCC_CLOCKTYPE_SYSCLK
                              |RCC_CLOCKTYPE_PCLK1|RCC_CLOCKTYPE_PCLK2;
  RCC_ClkInitStruct.SYSCLKSource = RCC_SYSCLKSOURCE_PLLCLK;
  RCC_ClkInitStruct.AHBCLKDivider = RCC_SYSCLK_DIV1;
  RCC_ClkInitStruct.APB1CLKDivider = RCC_HCLK_DIV4;
  RCC_ClkInitStruct.APB2CLKDivider = RCC_HCLK_DIV2;

  if (HAL_RCC_ClockConfig(&RCC_ClkInitStruct, FLASH_LATENCY_5) != HAL_OK)
  {
    Error_Handler();
  }
}

/* USER CODE BEGIN 4 */
int Is_iBus_Throttle_Min(void)
{
	if (ibus_rx_cplt_flag)
	{
		ibus_rx_cplt_flag = 0;
		if (iBus_Check_CHKSUM(&ibus_rx_buf[0], 32))
		{
			iBus_Parsing(&ibus_rx_buf[0], &iBus);
			if (iBus.LV < 1010) return 1;
		}
	}

	return 0;
}

void ESC_Calibration(void)
{
	TIM5->CCR1 = 21000;
	TIM5->CCR2 = 21000;
	TIM5->CCR3 = 21000;
	TIM5->CCR4 = 21000;
	HAL_Delay(7000);

	TIM5->CCR1 = 10500;
	TIM5->CCR2 = 10500;
	TIM5->CCR3 = 10500;
	TIM5->CCR4 = 10500;
	HAL_Delay(8000);
}

void BNO080_Calibration(void)
{
	//Resets BNO080 to disable All output
	BNO080_Initialization();

	//BNO080/BNO085 Configuration
	//Enable dynamic calibration for accelerometer, gyroscope, and magnetometer
	//Enable Game Rotation Vector output
	//Enable Magnetic Field output
	BNO080_calibrateAll(); //Turn on cal for Accel, Gyro, and Mag
	BNO080_enableGameRotationVector(20000); //Send data update every 20ms (50Hz)
	BNO080_enableMagnetometer(20000); //Send data update every 20ms (50Hz)

	//Once magnetic field is 2 or 3, run the Save DCD Now command
  	printf("Calibrating BNO080. Pull up FS-i6 SWC to end calibration and save to flash\n");
  	printf("Output in form x, y, z, in uTesla\n\n");

	//while loop for calibration procedure
	//Iterates until iBus.SwC is mid point (1500)
	//Calibration procedure should be done while this loop is in iteration.
	while(iBus.SwC == 1500)
	{
		if(BNO080_dataAvailable() == 1)
		{
			//Observing the status bit of the magnetic field output
			float x = BNO080_getMagX();
			float y = BNO080_getMagY();
			float z = BNO080_getMagZ();
			unsigned char accuracy = BNO080_getMagAccuracy();

			float quatI = BNO080_getQuatI();
			float quatJ = BNO080_getQuatJ();
			float quatK = BNO080_getQuatK();
			float quatReal = BNO080_getQuatReal();
			unsigned char sensorAccuracy = BNO080_getQuatAccuracy();

			printf("%f,%f,%f,", x, y, z);
			if (accuracy == 0) printf("Unreliable\t");
			else if (accuracy == 1) printf("Low\t");
			else if (accuracy == 2) printf("Medium\t");
			else if (accuracy == 3) printf("High\t");

			printf("\t%f,%f,%f,%f,", quatI, quatI, quatI, quatReal);
			if (sensorAccuracy == 0) printf("Unreliable\n");
			else if (sensorAccuracy == 1) printf("Low\n");
			else if (sensorAccuracy == 2) printf("Medium\n");
			else if (sensorAccuracy == 3) printf("High\n");

			//Turn the LED and buzzer on when both accuracy and sensorAccuracy is high
			if(accuracy == 3 && sensorAccuracy == 3)
			{
				LL_GPIO_SetOutputPin(GPIOC, LL_GPIO_PIN_0 | LL_GPIO_PIN_1 | LL_GPIO_PIN_2);
				TIM3->PSC = 65000; //Very low frequency
				LL_TIM_CC_EnableChannel(TIM3, LL_TIM_CHANNEL_CH4);
			}
			else
			{
				LL_GPIO_ResetOutputPin(GPIOC, LL_GPIO_PIN_0 | LL_GPIO_PIN_1 | LL_GPIO_PIN_2);
				LL_TIM_CC_DisableChannel(TIM3, LL_TIM_CHANNEL_CH4);
			}
		}

		Is_iBus_Received(); //Refreshes iBus Data for iBus.SwC
		HAL_Delay(100);
	}

	//Ends the loop when iBus.SwC is not mid point
	//Turn the LED and buzzer off
	LL_GPIO_ResetOutputPin(GPIOC, LL_GPIO_PIN_0 | LL_GPIO_PIN_1 | LL_GPIO_PIN_2);
	LL_TIM_CC_DisableChannel(TIM3, LL_TIM_CHANNEL_CH4);

	//Saves the current dynamic calibration data (DCD) to memory
	//Sends command to get the latest calibration status
	BNO080_saveCalibration();
	BNO080_requestCalibrationStatus();

	//Wait for calibration response, timeout if no response
	int counter = 100;
	while(1)
	{
		if(--counter == 0) break;
		if(BNO080_dataAvailable())
		{
			//The IMU can report many different things. We must wait
			//for the ME Calibration Response Status byte to go to zero
			if(BNO080_calibrationComplete() == 1)
			{
				printf("\nCalibration data successfully stored\n");
				LL_TIM_CC_EnableChannel(TIM3, LL_TIM_CHANNEL_CH4);
				TIM3->PSC = 2000;
				HAL_Delay(300);
				TIM3->PSC = 1500;
				HAL_Delay(300);
				LL_TIM_CC_DisableChannel(TIM3, LL_TIM_CHANNEL_CH4);
				HAL_Delay(1000);
				break;
			}
		}
		HAL_Delay(10);
	}
	if(counter == 0)
	{
		printf("\nCalibration data failed to store. Please try again.\n");
		LL_TIM_CC_EnableChannel(TIM3, LL_TIM_CHANNEL_CH4);
		TIM3->PSC = 1500;
		HAL_Delay(300);
		TIM3->PSC = 2000;
		HAL_Delay(300);
		LL_TIM_CC_DisableChannel(TIM3, LL_TIM_CHANNEL_CH4);
		HAL_Delay(1000);
	}

	//BNO080_endCalibration(); //Turns off all calibration
	//In general, calibration should be left on at all times. The BNO080
	//auto-calibrates and auto-records cal data roughly every 5 minutes

	//Resets BNO080 to disable Game Rotation Vector and Magnetometer
	//Enables Rotation Vector
	BNO080_Initialization();
	//BNO080_enableRotationVector(2500); //Send data update every 2.5ms (400Hz)
	BNO080_enableGameRotationVector(2500);
}

int Is_iBus_Received(void)
{
	if (ibus_rx_cplt_flag)
	{
		ibus_rx_cplt_flag = 0;
		if (iBus_Check_CHKSUM(&ibus_rx_buf[0], 32))
		{
			iBus_Parsing(&ibus_rx_buf[0], &iBus);
			return 1;
		}
	}

	return 0;
}

void HAL_UART_RxCpltCallback(UART_HandleTypeDef *huart)
{
	static unsigned char cnt = 0;

	if (huart->Instance == USART1) // what huart channel
	{
		HAL_UART_Receive_IT(&huart1, &uart1_rx_data, 1);

		switch (cnt)
		{
		// SYNC CHAR Check
		case 0:
			if (uart1_rx_data == 0x47) telemetry_rx_buf[cnt++] = uart1_rx_data;
			break;
		case 1:
			if (uart1_rx_data == 0x53) telemetry_rx_buf[cnt++] = uart1_rx_data;
			else cnt = 0;
			break;
			// buffer
		case 19:
			telemetry_rx_buf[cnt] = uart1_rx_data;
			cnt = 0;
			telemetry_rx_cplt_flag = 1;
			break;
		default:
			telemetry_rx_buf[cnt++] = uart1_rx_data;
			break;
		}
	}
}

void Encode_Msg_AHRS(unsigned char* telemetry_tx_buf)
{
	  telemetry_tx_buf[0] = 0x46;
	  telemetry_tx_buf[1] = 0x43;

	  telemetry_tx_buf[2] = 0x10;

//	  telemetry_tx_buf[3] = (short)(BNO080_Roll*100);
//	  telemetry_tx_buf[4] = ((short)(BNO080_Roll*100))>>8;
	  *(short*)&telemetry_tx_buf[3] = (BNO080_Roll*100);
//
//	  telemetry_tx_buf[5] = (short)(BNO080_Pitch*100);
//	  telemetry_tx_buf[6] = ((short)(BNO080_Pitch*100))>>8;
	  *(short*)&telemetry_tx_buf[5] = (BNO080_Pitch*100);
//
//	  telemetry_tx_buf[7] = (unsigned short)(BNO080_Yaw*100);
//	  telemetry_tx_buf[8] = ((unsigned short)(BNO080_Yaw*100))>>8;
	  *(unsigned short*)&telemetry_tx_buf[7] = (BNO080_Yaw*100);
//
//	  telemetry_tx_buf[9] = (short)(LPS22HH.baroAltFilt*10);
//	  telemetry_tx_buf[10] = ((short)(LPS22HH.baroAltFilt*10))>>8;
	  *(short*)&telemetry_tx_buf[9] = LPS22HH.baroAltFilt*10;
//
//	  telemetry_tx_buf[11] = (short)((iBus.RH-1500)*0.1f*100);
//	  telemetry_tx_buf[12] = ((short)((iBus.RH-1500)*0.1f*100))>>8;
	  *(short*)&telemetry_tx_buf[11] = (iBus.RH-1500)*0.1f*100;
//
//	  telemetry_tx_buf[13] = (short)((iBus.RV-1500)*0.1f*100);
//	  telemetry_tx_buf[14] = ((short)((iBus.RV-1500)*0.1f*100))>>8;
	  *(short*)&telemetry_tx_buf[13] = (iBus.RV-1500)*0.1f*100;
//
//	  telemetry_tx_buf[15] = (unsigned short)((iBus.LH-1000)*0.36f*100);
//	  telemetry_tx_buf[16] = ((unsigned short)((iBus.LH-1000)*0.36f*100))>>8;
	  *(unsigned short*)&telemetry_tx_buf[15] = (iBus.LH-1000)*0.36f*100;

	  telemetry_tx_buf[17] = (short)(iBus.LV*10);
	  telemetry_tx_buf[18] = (short)(iBus.LV*10)>>8;

	  telemetry_tx_buf[19] = 0xff;

	  for (int i=0; i<19; i++) telemetry_tx_buf[19] = telemetry_tx_buf[19] - telemetry_tx_buf[i];
}

void Encode_Msg_GPS(unsigned char* telemetry_tx_buf)
{
	  telemetry_tx_buf[0] = 0x46;
	  telemetry_tx_buf[1] = 0x43;

	  telemetry_tx_buf[2] = 0x11;

	  telemetry_tx_buf[3] = posllh.lat; // & 0xff
	  telemetry_tx_buf[4] = posllh.lat>>8;
	  telemetry_tx_buf[5] = posllh.lat>>16;
	  telemetry_tx_buf[6] = posllh.lat>>24;
//	  *(int*)&telemetry_tx_buf[3] = posllh.lat;

	  telemetry_tx_buf[7] = posllh.lon; // & 0xff
	  telemetry_tx_buf[8] = posllh.lon>>8;
	  telemetry_tx_buf[9] = posllh.lon>>16;
	  telemetry_tx_buf[10] = posllh.lon>>24;

	  telemetry_tx_buf[11] = (unsigned short)(batVolt*100);
	  telemetry_tx_buf[12] = ((unsigned short)(batVolt*100))>>8;

	  telemetry_tx_buf[13] = iBus.SwA == 1000 ? 0 : 1;
	  telemetry_tx_buf[14] = iBus.SwC == 1000 ? 0 : iBus.SwC == 1500 ? 1 : 2;

	  telemetry_tx_buf[15] = failsafe_flag;

	  telemetry_tx_buf[16] = 0x00;
	  telemetry_tx_buf[17] = 0x00;
	  telemetry_tx_buf[18] = 0x00;

	  telemetry_tx_buf[19] = 0xff;

	  for (int i=0; i<19; i++) telemetry_tx_buf[19] = telemetry_tx_buf[19] - telemetry_tx_buf[i];
}

void Encode_Msg_PID_Gain(unsigned char* telemetry_tx_buf, unsigned char id, float p, float i, float d)
{
	  telemetry_tx_buf[0] = 0x46;
	  telemetry_tx_buf[1] = 0x43;

	  telemetry_tx_buf[2] = id;

//	  memcpy(&telemetry_tx_buf[3], &p, 4);
//	  memcpy(&telemetry_tx_buf[7], &i, 4);
//	  memcpy(&telemetry_tx_buf[11], &d, 4);

	  *(float*)&telemetry_tx_buf[3] = p; // 3, 4, 5, 6
	  *(float*)&telemetry_tx_buf[7] = i; // 7, 8, 9, 10
	  *(float*)&telemetry_tx_buf[11] = d;// 11, 12, 13, 14

	  telemetry_tx_buf[15] = 0x00;
	  telemetry_tx_buf[16] = 0x00;
	  telemetry_tx_buf[17] = 0x00;
	  telemetry_tx_buf[18] = 0x00;

	  telemetry_tx_buf[19] = 0xff;

	  for (int i=0; i<19; i++) telemetry_tx_buf[19] = telemetry_tx_buf[19] - telemetry_tx_buf[i];
}
/* USER CODE END 4 */

void Error_Handler(void)
{
  __disable_irq();
  while (1)
  {
  }
}

/************************ (C) COPYRIGHT STMicroelectronics *****END OF FILE****/
